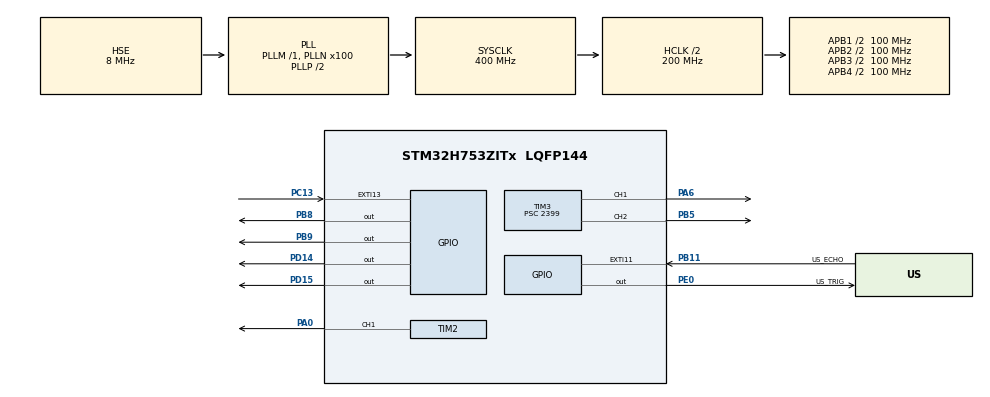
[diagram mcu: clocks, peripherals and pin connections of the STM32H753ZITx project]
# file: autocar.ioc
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CORTEX_M7.CPU_DCache=Disabled
CORTEX_M7.CPU_ICache=Disabled
CORTEX_M7.MPU_Control=__NULL
CORTEX_M7.default_mode_Activation=1
FREERTOS.Tasks01=defaultTask,24,128,StartDefaultTask,Default,NULL,Dynamic,NULL,NULL
FREERTOS.configENABLE_FPU=1
Mcu.Family=STM32H7
Mcu.Name=STM32H753ZITx
Mcu.Package=LQFP144
NVIC.EXTI15_10_IRQn=true\:5\:0\:true\:false\:true\:true\:true\:true\:true
NVIC.PriorityGroup=NVIC_PRIORITYGROUP_4
NVIC.TIM6_DAC_IRQn=true\:15\:0\:false\:false\:true\:false\:false\:true\:true
NVIC.TimeBase=TIM6_DAC_IRQn
NVIC.TimeBaseIP=TIM6
PA0.Signal=S_TIM2_CH1_ETR
PA13\ (JTMS/SWDIO).Mode=Serial_Wire
PA13\ (JTMS/SWDIO).Signal=DEBUG_JTMS-SWDIO
PA14\ (JTCK/SWCLK).Mode=Serial_Wire
PA14\ (JTCK/SWCLK).Signal=DEBUG_JTCK-SWCLK
PA6.Signal=S_TIM3_CH1
PB11.GPIO_Label=US_ECHO
PB11.GPIO_ModeDefaultEXTI=GPIO_MODE_IT_RISING_FALLING
PB11.GPIO_PuPd=GPIO_PULLDOWN
PB11.Signal=GPXTI11
PB5.Signal=S_TIM3_CH2
PB8.Signal=GPIO_Output
PB9.Signal=GPIO_Output
PC13.GPIO_ModeDefaultEXTI=GPIO_MODE_IT_RISING_FALLING
PC13.Signal=GPXTI13
PC14-OSC32_IN\ (OSC32_IN).Signal=RCC_OSC32_IN
PC15-OSC32_OUT\ (OSC32_OUT).Signal=RCC_OSC32_OUT
PD14.Signal=GPIO_Output
PD15.Signal=GPIO_Output
PD8.GPIO_Label=STLINK_RX
PD8.Signal=USART3_TX
PD9.GPIO_Label=STLINK_TX
PD9.Signal=USART3_RX
PE0.GPIO_Label=US_TRIG
PE0.Signal=GPIO_Output
PH0-OSC_IN\ (PH0).Mode=HSE-External-Clock-Source
PH0-OSC_IN\ (PH0).Signal=RCC_OSC_IN
PH1-OSC_OUT\ (PH1).Signal=RCC_OSC_OUT
ProjectManager.HeapSize=0x200
ProjectManager.StackSize=0x400
ProjectManager.TargetToolchain=STM32CubeIDE
RCC.ADCFreq_Value=16125000
RCC.APB1Freq_Value=100000000
RCC.APB2Freq_Value=100000000
RCC.APB3Freq_Value=100000000
RCC.APB4Freq_Value=100000000
RCC.CortexFreq_Value=400000000
RCC.D1PPRE=RCC_APB3_DIV2
RCC.D2PPRE1=RCC_APB1_DIV2
RCC.D2PPRE2=RCC_APB2_DIV2
RCC.D3PPRE=RCC_APB4_DIV2
RCC.DIVM1=1
RCC.DIVN1=100
RCC.DIVQ1=4
RCC.DIVR1=6
RCC.HCLKFreq_Value=200000000
RCC.HPRE=RCC_HCLK_DIV2
RCC.HSE_VALUE=8000000
RCC.PLLFRACN=0
RCC.PLLSourceVirtual=RCC_PLLSOURCE_HSE
RCC.PWR_Regulator_Voltage_Scale=PWR_REGULATOR_VOLTAGE_SCALE1
RCC.SYSCLKFreq_VALUE=400000000
RCC.SYSCLKSource=RCC_SYSCLKSOURCE_PLLCLK
RCC.USBFreq_Value=200000000
SH.S_TIM2_CH1_ETR.0=TIM2_CH1,PWM Generation1 CH1
SH.S_TIM3_CH1.0=TIM3_CH1,PWM Generation1 CH1
SH.S_TIM3_CH2.0=TIM3_CH2,PWM Generation2 CH2
TIM2.Channel-PWM\ Generation1\ CH1=TIM_CHANNEL_1
TIM2.Period=19999
TIM2.Prescaler=199
TIM3.Channel-PWM\ Generation1\ CH1=TIM_CHANNEL_1
TIM3.Channel-PWM\ Generation2\ CH2=TIM_CHANNEL_2
TIM3.Period=999
TIM3.Prescaler=2399
TIM5.Period=0xFFFFFFFF
TIM5.Prescaler=199
VP_FREERTOS_VS_CMSIS_V2.Mode=CMSIS_V2
VP_MEMORYMAP_VS_MEMORYMAP.Mode=CurAppReg
VP_SYS_VS_tim6.Mode=TIM6
VP_TIM3_VS_ClockSourceINT.Mode=Internal
VP_TIM5_VS_ClockSourceINT.Mode=Internal
board=NUCLEO-H753ZI

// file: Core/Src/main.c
/* USER CODE BEGIN Header */
/**
  ******************************************************************************
  * @file           : main.c
  * @brief          : Main program body
  ******************************************************************************
  * @attention
  *
  * Copyright (c) 2026 STMicroelectronics.
  * All rights reserved.
  *
  * This software is licensed under terms that can be found in the LICENSE file
  * in the root directory of this software component.
  * If no LICENSE file comes with this software, it is provided AS-IS.
  *
  ******************************************************************************
  */
/* USER CODE END Header */
#include "main.h"
#include "cmsis_os.h"
#include "tim.h"
#include "gpio.h"

/* USER CODE BEGIN Includes */
#include "motor.h"
#include "app_state.h"
#include "ultrasonic.h"
/* USER CODE END Includes */

/* USER CODE BEGIN PD */
/* 풀다운 기준(외부 풀다운): pressed=1(SET), released=0(RESET) */
#define BTN_PORT   GPIOC
#define BTN_PIN    GPIO_PIN_13
/* USER CODE END PD */

/* USER CODE BEGIN PV */
extern osMessageQueueId_t btnEdgeQHandle;
extern osMessageQueueId_t usEchoEdgeQHandle;
/* USER CODE END PV */

void SystemClock_Config(void);
void MX_FREERTOS_Init(void);

int main(void)
{

  /* MCU Configuration--------------------------------------------------------*/

  /* Reset of all peripherals, Initializes the Flash interface and the Systick. */
  HAL_Init();

  /* Configure the system clock */
  SystemClock_Config();

  /* Initialize all configured peripherals */
  MX_GPIO_Init();
  MX_TIM3_Init();
  MX_TIM2_Init();
  MX_TIM5_Init();
  /* USER CODE BEGIN 2 */
  /* 모터는 스케줄러 시작 전에 초기화 */
  Motor_Init(&htim3);
  HAL_TIM_Base_Start(&htim5);   // ★ TIM5 카운터(1us 기준) 계속 돌리기

  HAL_TIM_PWM_Start(&htim2, TIM_CHANNEL_1);
  __HAL_TIM_SET_COMPARE(&htim2, TIM_CHANNEL_1, 1500);

  /* safe boot 기본값(필요하면 유지) */
  /* USER CODE END 2 */

  /* Init scheduler */
  osKernelInitialize();  /* Call init function for freertos objects (in cmsis_os2.c) */
  MX_FREERTOS_Init();

  /* Start scheduler */
  osKernelStart();

  /* We should never get here as control is now taken by the scheduler */

  /* Infinite loop */
  while (1)
  {

  }
}

void SystemClock_Config(void)
{
  RCC_OscInitTypeDef RCC_OscInitStruct = {0};
  RCC_ClkInitTypeDef RCC_ClkInitStruct = {0};

  /** Supply configuration update enable
  */
  HAL_PWREx_ConfigSupply(PWR_LDO_SUPPLY);

  /** Configure the main internal regulator output voltage
  */
  __HAL_PWR_VOLTAGESCALING_CONFIG(PWR_REGULATOR_VOLTAGE_SCALE1);

  while(!__HAL_PWR_GET_FLAG(PWR_FLAG_VOSRDY)) {}

  /** Initializes the RCC Oscillators according to the specified parameters
  * in the RCC_OscInitTypeDef structure.
  */
  RCC_OscInitStruct.OscillatorType = RCC_OSCILLATORTYPE_HSE;
  RCC_OscInitStruct.HSEState = RCC_HSE_BYPASS;
  RCC_OscInitStruct.PLL.PLLState = RCC_PLL_ON;
  RCC_OscInitStruct.PLL.PLLSource = RCC_PLLSOURCE_HSE;
  RCC_OscInitStruct.PLL.PLLM = 1;
  RCC_OscInitStruct.PLL.PLLN = 100;
  RCC_OscInitStruct.PLL.PLLP = 2;
  RCC_OscInitStruct.PLL.PLLQ = 4;
  RCC_OscInitStruct.PLL.PLLR = 6;
  RCC_OscInitStruct.PLL.PLLRGE = RCC_PLL1VCIRANGE_3;
  RCC_OscInitStruct.PLL.PLLVCOSEL = RCC_PLL1VCOWIDE;
  RCC_OscInitStruct.PLL.PLLFRACN = 0;
  if (HAL_RCC_OscConfig(&RCC_OscInitStruct) != HAL_OK)
  {
    Error_Handler();
  }

  /** Initializes the CPU, AHB and APB buses clocks
  */
  RCC_ClkInitStruct.ClockType = RCC_CLOCKTYPE_HCLK|RCC_CLOCKTYPE_SYSCLK
                              |RCC_CLOCKTYPE_PCLK1|RCC_CLOCKTYPE_PCLK2
                              |RCC_CLOCKTYPE_D3PCLK1|RCC_CLOCKTYPE_D1PCLK1;
  RCC_ClkInitStruct.SYSCLKSource = RCC_SYSCLKSOURCE_PLLCLK;
  RCC_ClkInitStruct.SYSCLKDivider = RCC_SYSCLK_DIV1;
  RCC_ClkInitStruct.AHBCLKDivider = RCC_HCLK_DIV2;
  RCC_ClkInitStruct.APB3CLKDivider = RCC_APB3_DIV2;
  RCC_ClkInitStruct.APB1CLKDivider = RCC_APB1_DIV2;
  RCC_ClkInitStruct.APB2CLKDivider = RCC_APB2_DIV2;
  RCC_ClkInitStruct.APB4CLKDivider = RCC_APB4_DIV2;

  if (HAL_RCC_ClockConfig(&RCC_ClkInitStruct, FLASH_LATENCY_2) != HAL_OK)
  {
    Error_Handler();
  }
}

/* USER CODE BEGIN 4 */
/*
 * EXTI 콜백: ISR에서는 "엣지 정보만" 큐로 전달
 * msg = (tick << 1) | level
 * level: 풀다운 기준 pressed=1(SET), released=0(RESET)
 */
void HAL_GPIO_EXTI_Callback(uint16_t GPIO_Pin)
{
	if (osKernelGetState() != osKernelRunning) return;
	if (GPIO_Pin == US_ECHO_Pin) {
		if (usEchoEdgeQHandle == NULL) return;
		uint32_t echo_level;
		echo_level = (HAL_GPIO_ReadPin(US_ECHO_GPIO_Port, US_ECHO_Pin) ==GPIO_PIN_SET) ? 1u : 0u;
		uint32_t t_us = __HAL_TIM_GET_COUNTER(&htim5);
		UsEchoEdgeMsg msg;
		msg.level = (uint8_t)echo_level;
		msg.t_us=t_us;
		(void)osMessageQueuePut(usEchoEdgeQHandle, &msg, 0U, 0U);
		return;
	}
	if (GPIO_Pin == BTN_PIN) {
		if (btnEdgeQHandle == NULL) return;
		uint32_t tick=osKernelGetTickCount();
		uint32_t btn_level;
		btn_level=(HAL_GPIO_ReadPin(BTN_PORT,BTN_PIN)==GPIO_PIN_SET) ? 1u : 0u;
		uint32_t packed = (tick << 1) | (btn_level & 1u);
		(void)osMessageQueuePut(btnEdgeQHandle, &packed, 0U, 0U);
		return;
	}

}
/* USER CODE END 4 */

void HAL_TIM_PeriodElapsedCallback(TIM_HandleTypeDef *htim)
{
  if (htim->Instance == TIM6)
  {
    HAL_IncTick();
  }
}

void Error_Handler(void)
{
  __disable_irq();
  while (1)
  {
  }
}

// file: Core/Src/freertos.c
/* USER CODE BEGIN Header */
/**
  ******************************************************************************
  * File Name          : freertos.c
  * Description        : Code for freertos applications
  ******************************************************************************
  * @attention
  *
  * Copyright (c) 2026 STMicroelectronics.
  * All rights reserved.
  *
  ******************************************************************************
  */
/* USER CODE END Header */

#include "FreeRTOS.h"
#include "task.h"
#include "main.h"
#include "cmsis_os.h"

/* USER CODE BEGIN Includes */
#include "gpio.h"
#include "tim.h"
#include "app_state.h"
#include "motor.h"
#include "ultrasonic.h"
/* USER CODE END Includes */

/* USER CODE BEGIN PTD */

typedef enum {
    APP_EVT_BUTTON_TOGGLE=0
} AppEvent_t;

typedef struct {
	uint32_t dist_cm;
	uint8_t is_near;
	uint32_t pulse_us;
	uint32_t seq;
} UsSnapshot_t;

typedef enum {
    CTRL_STATE_STOPPED = 0,
    CTRL_STATE_RUN,

    CTRL_STATE_SCAN_CENTER_WAIT,
    CTRL_STATE_SCAN_LEFT_WAIT,
    CTRL_STATE_SCAN_RIGHT_WAIT,

    CTRL_STATE_BACK_WAIT,
    CTRL_STATE_TURN_LEFT_WAIT,
    CTRL_STATE_TURN_RIGHT_WAIT
} CtrlState_t;
/* USER CODE END PTD */

/* USER CODE BEGIN PD */
/* 외부 풀다운 기준: pressed=1(SET), released=0(RESET) */
#define BTN_PORT          GPIOC
#define BTN_PIN           GPIO_PIN_13

#define BTN_DEBOUNCE_MS   (30u)
#define US_NEAR_ON_CM    (18u)
#define US_NEAR_OFF_CM   (22u)
#define SCAN_SAFE_CM (25u)
#define SERVO_CENTER 1500
#define SERVO_LEFT   2000
#define SERVO_RIGHT   1000
#define SCAN_DIR_NONE 255u
#define US_SPIKE_CM 100u
#define APP_FLAG_US_UPDATE (1U << 0)
#define APP_FLAG_BUTTON_TOGGLE (1U << 1)

/* USER CODE END PD */

/* USER CODE BEGIN Variables */
/* ---- Ultrasonic debug ---- */
volatile uint32_t us_rise_cnt;
volatile uint32_t us_fall_cnt;
volatile uint32_t us_rise_us;
volatile uint32_t us_pulse_us;
volatile UsEchoEdgeMsg us_last;
volatile uint32_t us_last_seq;

static UsSnapshot_t g_us_snapshot = {0};

volatile uint32_t scan_center_cm =0;
volatile uint32_t scan_left_cm=0;
volatile uint32_t scan_right_cm=0;
volatile uint8_t scan_dir=SCAN_DIR_NONE; //  1=left,2=right
volatile uint8_t scan_done = 0u;

/* ---- Button debug (optional) ---- */
volatile uint32_t dbg_btn_msg    = 0;
volatile uint32_t dbg_edge_tick  = 0;
volatile uint32_t dbg_edge_level = 0;
volatile uint32_t dbg_press_tick = 0;
volatile uint32_t dbg_dur_ms     = 0;

/* control debug */
volatile uint8_t ctrl_want_run = 0u;
volatile uint8_t auto_speed_step = 0u;

/* ---- Queues ---- */
osMessageQueueId_t btnEdgeQHandle;
const osMessageQueueAttr_t btnEdgeQ_attributes = { .name = "btnEdgeQ" };

osMessageQueueId_t motorCmdQHandle;
const osMessageQueueAttr_t motorCmdQ_attributes = { .name = "motorCmdQ" };

osMessageQueueId_t usEchoEdgeQHandle;
const osMessageQueueAttr_t usEchoEdgeQ_attributes = { .name = "usEchoEdgeQ" };

osMessageQueueId_t appEventQHandle;
const osMessageQueueAttr_t appEventQ_attributes = { .name = "appEventQ" };

/*------Mutex---*/
osMutexId_t usMutexHandle;
const osMutexAttr_t usMutex_attributes = {.name = "usMutex"};

/* ---- Event Flags ---- */
osEventFlagsId_t appFlagsHandle;
const osEventFlagsAttr_t appFlags_attributes = {.name = "appFlags"};
		/* USER CODE END Variables */

/* Definitions for defaultTask */
osThreadId_t defaultTaskHandle;
const osThreadAttr_t defaultTask_attributes = {
  .name = "defaultTask",
  .stack_size = 128 * 4,
  .priority = (osPriority_t) osPriorityLow,
};

/* USER CODE BEGIN RTOS_THREADS_DECL */
osThreadId_t ButtonTaskHandle;
const osThreadAttr_t ButtonTask_attributes = {
  .name = "ButtonTask",
  .stack_size = 256 * 4,
  .priority = (osPriority_t) osPriorityNormal,
};

osThreadId_t MotorTaskHandle;
const osThreadAttr_t MotorTask_attributes = {
  .name = "MotorTask",
  .stack_size = 256 * 4,
  .priority = (osPriority_t) osPriorityNormal,
};

osThreadId_t UltrasonicEdgeTaskHandle;
const osThreadAttr_t UltrasonicEdgeTask_attributes = {
  .name = "UltrasonicEdgeTask",
  .stack_size = 256 * 4,
  .priority = (osPriority_t) osPriorityHigh,
};

osThreadId_t UltrasonicTrigTaskHandle;
const osThreadAttr_t UltrasonicTrigTask_attributes = {
  .name = "UltrasonicTrigTask",
  .stack_size = 256 * 4,
  .priority = (osPriority_t) osPriorityBelowNormal,
};

osThreadId_t ControlTaskHandle;
const osThreadAttr_t ControlTask_attributes = {
		.name = "ControlTask",
		.stack_size = 256 * 4,
		.priority = (osPriority_t) osPriorityAboveNormal,
		};
/* USER CODE END RTOS_THREADS_DECL */

/* USER CODE BEGIN FunctionPrototypes */
static void delay_us(uint32_t us);

void ButtonTask(void *argument);
void MotorTask(void *argument);
void ControlTask(void *argument);

void UltrasonicEdgeTask(void *argument);
void UltrasonicTrigTask(void *argument);
/* USER CODE END FunctionPrototypes */

void StartDefaultTask(void *argument);

void MX_FREERTOS_Init(void); /* (MISRA C 2004 rule 8.1) */

void MX_FREERTOS_Init(void) {
  /* USER CODE BEGIN Init */
  /* Create queues (must be after osKernelInitialize(), before osKernelStart()) */
  btnEdgeQHandle    = osMessageQueueNew(16, sizeof(uint32_t),   &btnEdgeQ_attributes);
  motorCmdQHandle   = osMessageQueueNew(8,  sizeof(MotorCmd_t), &motorCmdQ_attributes);
  usEchoEdgeQHandle = osMessageQueueNew(16, sizeof(UsEchoEdgeMsg), &usEchoEdgeQ_attributes);
  appEventQHandle   = osMessageQueueNew(8, sizeof(AppEvent_t), &appEventQ_attributes);

  appFlagsHandle    = osEventFlagsNew(&appFlags_attributes);
  /* USER CODE END Init */

  /* USER CODE BEGIN RTOS_MUTEX */
  usMutexHandle = osMutexNew(&usMutex_attributes);
  /* USER CODE END RTOS_MUTEX */

  /* Create the thread(s) */
  defaultTaskHandle = osThreadNew(StartDefaultTask, NULL, &defaultTask_attributes);

  /* USER CODE BEGIN RTOS_THREADS */
  ButtonTaskHandle         = osThreadNew(ButtonTask, NULL, &ButtonTask_attributes);
  MotorTaskHandle          = osThreadNew(MotorTask,  NULL, &MotorTask_attributes);
  UltrasonicEdgeTaskHandle = osThreadNew(UltrasonicEdgeTask, NULL, &UltrasonicEdgeTask_attributes);
  UltrasonicTrigTaskHandle = osThreadNew(UltrasonicTrigTask, NULL, &UltrasonicTrigTask_attributes);
  ControlTaskHandle = osThreadNew(ControlTask, NULL, &ControlTask_attributes);
  /* USER CODE END RTOS_THREADS */

}

void StartDefaultTask(void *argument)
{
  /* USER CODE BEGIN StartDefaultTask */
  (void)argument;

  for(;;)
  {
    osDelay(1000);
  }
  /* USER CODE END StartDefaultTask */
}

/* USER CODE BEGIN Application */

static void delay_us(uint32_t us)
{
  uint32_t start = __HAL_TIM_GET_COUNTER(&htim5);
  while ((uint32_t)(__HAL_TIM_GET_COUNTER(&htim5) - start) < us) {
    /* busy wait */
  }
}

static void UsSnapshot_Update(uint32_t dist_cm, uint8_t is_near, uint32_t pulse_us)
{
	osMutexAcquire(usMutexHandle, osWaitForever);

	g_us_snapshot.dist_cm  = dist_cm;
	g_us_snapshot.is_near  = is_near;
	g_us_snapshot.pulse_us = pulse_us;
	g_us_snapshot.seq++;

	osMutexRelease(usMutexHandle);

	if (appFlagsHandle != NULL) {
	    (void)osEventFlagsSet(appFlagsHandle, APP_FLAG_US_UPDATE);
	}
}

static UsSnapshot_t UsSnapshot_Get(void)
{
    UsSnapshot_t copy;

    osMutexAcquire(usMutexHandle, osWaitForever);

    copy = g_us_snapshot;

    osMutexRelease(usMutexHandle);

    return copy;
}

static void Motor_Post(MotorCmdType_t type, uint8_t speed_step){
    MotorCmd_t cmd;

    cmd.type = type;
    cmd.speed_step = speed_step;

    (void)osMessageQueuePut(motorCmdQHandle, &cmd, 0U, 0U);
}

/* ButtonTask: btnEdgeQ( packed tick/level ) -> motorCmdQ */
void ButtonTask(void *argument)
{
  (void)argument;

  uint32_t packed = 0;
  uint32_t press_tick = 0;
  uint8_t  pressed = 0;

  for (;;)
  {
    osMessageQueueGet(btnEdgeQHandle, &packed, NULL, osWaitForever);

    uint32_t isr_tick = (packed >> 1);
    uint32_t isr_level = (packed & 1u);

    dbg_btn_msg    = packed;
    dbg_edge_tick  = isr_tick;
    dbg_edge_level = isr_level;

    /* debounce: wait then re-read */
    osDelay(BTN_DEBOUNCE_MS);
    uint32_t stable_level =
        (HAL_GPIO_ReadPin(BTN_PORT, BTN_PIN) == GPIO_PIN_SET) ? 1u : 0u;

    if (stable_level != isr_level) {
      continue; /* bounce/glitch */
    }

    if (stable_level == 1u) {
      /* pressed */
      pressed = 1;
      press_tick = isr_tick;
      dbg_press_tick = press_tick;
    } else {
      /* released */
      if (!pressed) continue;
      pressed = 0;

      uint32_t rel_tick = osKernelGetTickCount();
      uint32_t dt_ticks = (rel_tick - press_tick);
      uint32_t tick_hz = osKernelGetTickFreq();
      uint32_t dur_ms = (tick_hz != 0u) ? (dt_ticks * 1000u) / tick_hz : dt_ticks;
      dbg_dur_ms = dur_ms;

      (void)osEventFlagsSet(appFlagsHandle, APP_FLAG_BUTTON_TOGGLE);

    }
  }
}

/* MotorTask: exclusive motor control */
void MotorTask(void *argument)
{
  (void)argument;

  /* safe boot */
  Motor_Stop();

  MotorCmd_t cmd;
  for (;;)
  {
    osMessageQueueGet(motorCmdQHandle, &cmd, NULL, osWaitForever);

    if (cmd.type == MOTOR_CMD_STOP) {
      Motor_Stop();
    }
    else if (cmd.type == MOTOR_CMD_RUN){
    	Motor_Run(cmd.speed_step);
    }
    else if (cmd.type == MOTOR_CMD_BACK) {
    	Motor_Back(cmd.speed_step);
    }
    else if (cmd.type == MOTOR_CMD_TURN_LEFT) {
    	Motor_TurnLeft(cmd.speed_step);
    }
    else if (cmd.type == MOTOR_CMD_TURN_RIGHT) {
    	Motor_TurnRight(cmd.speed_step);
    }
  }
}

/* UltrasonicEdgeTask: consume EXTI edge messages from main.c callback */
void UltrasonicEdgeTask(void *argument)
{
  (void)argument;
  UsEchoEdgeMsg msg;

  uint32_t dist_cm =0u;
  uint8_t is_near = 0u;

  for (;;)
  {
    osMessageQueueGet(usEchoEdgeQHandle, &msg, NULL, osWaitForever);

    if (msg.level) {
      us_rise_cnt++;
      us_rise_us = msg.t_us;
    } else {
      us_fall_cnt++;
      us_pulse_us = (uint32_t)(msg.t_us - us_rise_us);
      if (us_pulse_us >= 150u && us_pulse_us <= 25000u) {
    	  uint32_t temp_dist_cm = us_pulse_us / 58u;

    	  if ((dist_cm == 0u) || ((temp_dist_cm > dist_cm) && ((temp_dist_cm - dist_cm) < US_SPIKE_CM)) || ((temp_dist_cm <= dist_cm) && ((dist_cm - temp_dist_cm) < US_SPIKE_CM)))
    	  {
    		  dist_cm = temp_dist_cm;
    	  }
    	  if(dist_cm<=US_NEAR_ON_CM) {
    		  is_near=1u;
    	  }
    	  else if(dist_cm>=US_NEAR_OFF_CM) {
    		  is_near=0u;
    	  }
    	  UsSnapshot_Update(dist_cm, is_near, us_pulse_us);
        }
    }

    us_last = msg;
    us_last_seq++;
  }
}

/* UltrasonicTrigTask: periodic trigger pulse */
void UltrasonicTrigTask(void *argument)
{
  (void)argument;

  /* TRIG default LOW */
  HAL_GPIO_WritePin(US_TRIG_GPIO_Port, US_TRIG_Pin, GPIO_PIN_RESET);

  for (;;)
  {
    HAL_GPIO_WritePin(US_TRIG_GPIO_Port, US_TRIG_Pin, GPIO_PIN_SET);
    delay_us(15);
    HAL_GPIO_WritePin(US_TRIG_GPIO_Port, US_TRIG_Pin, GPIO_PIN_RESET);

    /* avoid echo overlap */
    osDelay(60);
  }
}

void ControlTask(void *argument)
{
    (void)argument;

    uint8_t run_enabled = 0u; // 0=STOP, 1=RUN
    uint8_t prev_want_run = 0u;
    uint8_t prev_speed_step = auto_speed_step;

    CtrlState_t state = CTRL_STATE_STOPPED;
    uint32_t deadline_tick = 0u;

    for (;;)
    {
        uint32_t now = osKernelGetTickCount();
        uint32_t wait_ticks = osWaitForever;

        if (state == CTRL_STATE_SCAN_CENTER_WAIT ||
            state == CTRL_STATE_SCAN_LEFT_WAIT ||
            state == CTRL_STATE_SCAN_RIGHT_WAIT ||
            state == CTRL_STATE_BACK_WAIT ||
            state == CTRL_STATE_TURN_LEFT_WAIT ||
            state == CTRL_STATE_TURN_RIGHT_WAIT)
        {
            if ((int32_t)(now - deadline_tick) >= 0) {
                wait_ticks = 0u;
            } else {
                wait_ticks = deadline_tick - now;
            }
        }

        uint32_t flags = osEventFlagsWait(
            appFlagsHandle,
            APP_FLAG_BUTTON_TOGGLE | APP_FLAG_US_UPDATE,
            osFlagsWaitAny,
            wait_ticks
        );

        if ((flags & osFlagsError) == 0u) {
            if ((flags & APP_FLAG_BUTTON_TOGGLE) != 0u) {
                run_enabled ^= 1u;

                if (!run_enabled) {
                    Motor_Post(MOTOR_CMD_STOP, 0u);
                    ctrl_want_run = 0u;
                    prev_want_run = 0u;
                    prev_speed_step = 0u;
                    state = CTRL_STATE_STOPPED;
                }
            }
        }

        UsSnapshot_t us = UsSnapshot_Get();
        now = osKernelGetTickCount();

        switch (state)
        {
        case CTRL_STATE_STOPPED:
            ctrl_want_run = 0u;

            if (run_enabled) {
                state = CTRL_STATE_RUN;
            }
            break;

        case CTRL_STATE_RUN:
        {
            if (!run_enabled) {
                Motor_Post(MOTOR_CMD_STOP, 0u);
                ctrl_want_run = 0u;
                state = CTRL_STATE_STOPPED;
                break;
            }

            if (us.is_near) {
                Motor_Post(MOTOR_CMD_STOP, 0u);
                ctrl_want_run = 0u;
                prev_want_run = 0u;
                prev_speed_step = 0u;

                __HAL_TIM_SET_COMPARE(&htim2, TIM_CHANNEL_1, SERVO_CENTER);
                deadline_tick = now + 500u;
                state = CTRL_STATE_SCAN_CENTER_WAIT;
                break;
            }

            if (us.dist_cm >= SCAN_SAFE_CM) {
                ctrl_want_run = 1u;

                if (us.dist_cm > 40u) {
                    auto_speed_step = 2u;
                } else {
                    auto_speed_step = 1u;
                }
            } else {
                ctrl_want_run = 0u;
                auto_speed_step = 0u;
            }

            if ((ctrl_want_run != prev_want_run) ||
                ((ctrl_want_run == 1u) && (auto_speed_step != prev_speed_step)))
            {
                prev_want_run = ctrl_want_run;
                prev_speed_step = auto_speed_step;

                if (ctrl_want_run) {
                    Motor_Post(MOTOR_CMD_RUN, auto_speed_step);
                } else {
                    Motor_Post(MOTOR_CMD_STOP, 0u);
                }
            }
            break;
        }

        case CTRL_STATE_SCAN_CENTER_WAIT:
            if ((int32_t)(now - deadline_tick) >= 0) {
                scan_center_cm = us.dist_cm;

                __HAL_TIM_SET_COMPARE(&htim2, TIM_CHANNEL_1, SERVO_LEFT);
                deadline_tick = now + 500u;
                state = CTRL_STATE_SCAN_LEFT_WAIT;
            }
            break;

        case CTRL_STATE_SCAN_LEFT_WAIT:
            if ((int32_t)(now - deadline_tick) >= 0) {
                scan_left_cm = us.dist_cm;

                __HAL_TIM_SET_COMPARE(&htim2, TIM_CHANNEL_1, SERVO_RIGHT);
                deadline_tick = now + 500u;
                state = CTRL_STATE_SCAN_RIGHT_WAIT;
            }
            break;

        case CTRL_STATE_SCAN_RIGHT_WAIT:
            if ((int32_t)(now - deadline_tick) >= 0) {
                scan_right_cm = us.dist_cm;

                __HAL_TIM_SET_COMPARE(&htim2, TIM_CHANNEL_1, SERVO_CENTER);

                if ((scan_center_cm < SCAN_SAFE_CM) &&
                    (scan_left_cm < SCAN_SAFE_CM) &&
                    (scan_right_cm < SCAN_SAFE_CM))
                {
                    scan_dir = 0u;
                    Motor_Post(MOTOR_CMD_BACK, 1u);
                    deadline_tick = now + 1000u;
                    state = CTRL_STATE_BACK_WAIT;
                }
                else if (scan_left_cm > scan_right_cm) {
                    scan_dir = 1u;
                    Motor_Post(MOTOR_CMD_TURN_LEFT, 1u);
                    deadline_tick = now + 500u;
                    state = CTRL_STATE_TURN_LEFT_WAIT;
                }
                else {
                    scan_dir = 2u;
                    Motor_Post(MOTOR_CMD_TURN_RIGHT, 1u);
                    deadline_tick = now + 500u;
                    state = CTRL_STATE_TURN_RIGHT_WAIT;
                }
            }
            break;

        case CTRL_STATE_BACK_WAIT:
        case CTRL_STATE_TURN_LEFT_WAIT:
        case CTRL_STATE_TURN_RIGHT_WAIT:
            if ((int32_t)(now - deadline_tick) >= 0) {
                Motor_Post(MOTOR_CMD_STOP, 0u);

                scan_dir = SCAN_DIR_NONE;
                scan_done = 0u;

                ctrl_want_run = 0u;
                prev_want_run = 0u;
                prev_speed_step = 0u;

                if (run_enabled) {
                    state = CTRL_STATE_RUN;
                } else {
                    state = CTRL_STATE_STOPPED;
                }
            }
            break;

        default:
            Motor_Post(MOTOR_CMD_STOP, 0u);
            ctrl_want_run = 0u;
            state = CTRL_STATE_STOPPED;
            break;
        }
    }
}

/* USER CODE END Application */
